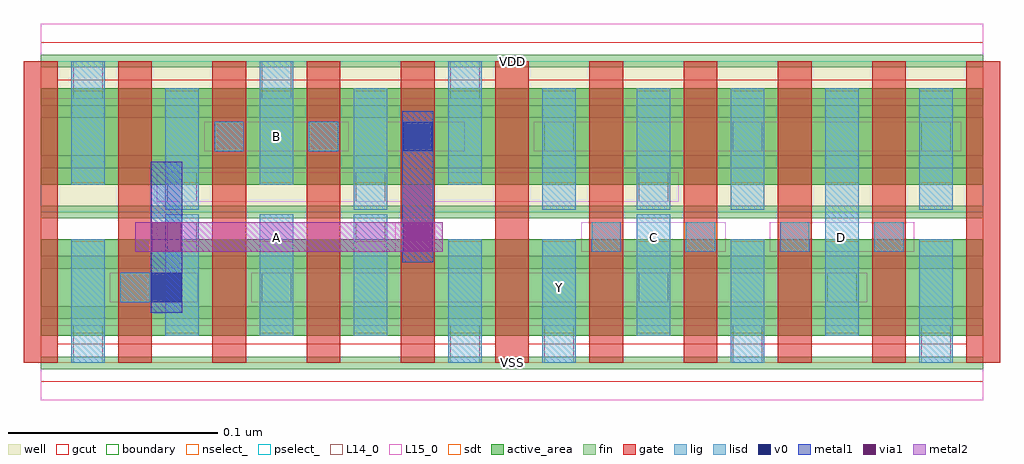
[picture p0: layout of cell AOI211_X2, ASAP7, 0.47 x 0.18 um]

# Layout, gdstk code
import gdstk
lib = gdstk.Library(unit=1e-6, precision=2.5e-10)
def R(c, l, rs):  # rectangles x0, y0, x1, y1
    for r in rs: c.add(gdstk.rectangle(r[:2], r[2:], *l))
def A(c, l, x, y, w, h, nx, ny, dx, dy):  # array of equal rectangles
    R(c, l, [(x+i*dx, y+j*dy, x+i*dx+w, y+j*dy+h) for i in range(nx) for j in range(ny)])
def P(c, l, *ps):  # polygons
    for p in ps: c.add(gdstk.Polygon(p, *l))
well = (1, 0)
fin = (2, 0)
gate = (7, 0)
gcut = (10, 0)
active_area = (11, 0)
nselect_ = (12, 0)
pselect_ = (13, 0)
L14_0 = (14, 0)
L15_0 = (15, 0)
lig = (16, 0)
lisd = (17, 0)
v0 = (18, 0)
metal1 = (19, 0)
metal2 = (20, 0)
via1 = (21, 0)
sdt = (88, 0)
boundary = (100, 0)

aoi211_x2 = lib.new_cell('AOI211_X2')
R(aoi211_x2, well, [(0,0.072,0.45,0.144)])
A(aoi211_x2, fin, 0, -0.003, 0.45, 0.006, 1, 7, 0, 0.024)
A(aoi211_x2, gate, -0.008, 0, 0.016, 0.144, 11, 1, 0.045, 0)
P(aoi211_x2, gcut, [(0,-0.009),(0,0),(-0.008,0),(-0.008,0.135),(0.008,0.135),(0.008,0.009),(0.217,0.009),(0.217,0.135),(0.233,0.135),(0.233,0.009),(0.442,0.009),(0.442,0.135),(-0.008,0.135),(-0.008,0.144),(0,0.144),(0,0.153),(0.45,0.153),(0.45,0.144),(0.458,0.144),(0.458,0),(0.45,0),(0.45,-0.009)])
R(aoi211_x2, active_area, [(0,0.013,0.45,0.059), (0,0.085,0.45,0.131)])
R(aoi211_x2, nselect_, [(0,0,0.45,0.072)])
R(aoi211_x2, pselect_, [(0,0.072,0.45,0.144)])
A(aoi211_x2, L14_0, 0.2405, 0, 0.014, 0.018, 3, 1, 0.09, 0)
A(aoi211_x2, L14_0, 0.263, 0.053, 0.014, 0.014, 4, 1, 0.045, 0)
A(aoi211_x2, L14_0, 0.083, 0.101, 0.014, 0.014, 3, 1, 0.045, 0)
A(aoi211_x2, L14_0, 0.2405, 0.101, 0.014, 0.014, 3, 1, 0.09, 0)
A(aoi211_x2, L14_0, 0.0155, 0.126, 0.014, 0.018, 3, 1, 0.09, 0)
R(aoi211_x2, L14_0, [(0.0155,0,0.0295,0.018), (0.1955,0,0.2095,0.018), (0.038,0.029,0.052,0.043), (0.1055,0.029,0.1195,0.043), (0.2855,0.029,0.2995,0.043), (0.3755,0.029,0.3895,0.043), (0.0605,0.053,0.0745,0.067), (0.1505,0.053,0.1645,0.067), (0.0605,0.077,0.0745,0.091), (0.1505,0.077,0.1645,0.091), (0.2855,0.077,0.2995,0.091)])
R(aoi211_x2, L15_0, [(0,-0.018,0.45,0.018), (0.033,0.029,0.075,0.043), (0.1005,0.029,0.3945,0.043), (0.0555,0.053,0.1695,0.067), (0.258,0.053,0.327,0.067), (0.348,0.053,0.417,0.067), (0.0555,0.077,0.3045,0.091), (0.078,0.101,0.147,0.115), (0.165,0.101,0.2025,0.115), (0.2355,0.101,0.4395,0.115), (0,0.126,0.45,0.162)])
A(aoi211_x2, lig, 0.263, 0.053, 0.014, 0.014, 4, 1, 0.045, 0)
A(aoi211_x2, lig, 0.083, 0.101, 0.014, 0.014, 3, 1, 0.045, 0)
R(aoi211_x2, lig, [(0.038,0.029,0.052,0.043)])
A(aoi211_x2, lisd, 0.2395, 0, 0.016, 0.059, 3, 1, 0.09, 0)
A(aoi211_x2, lisd, 0.0595, 0.013, 0.016, 0.058, 3, 1, 0.045, 0)
A(aoi211_x2, lisd, 0.0595, 0.073, 0.016, 0.058, 3, 1, 0.09, 0)
A(aoi211_x2, lisd, 0.0145, 0.085, 0.016, 0.059, 3, 1, 0.09, 0)
R(aoi211_x2, lisd, [(0.0145,0,0.0305,0.059), (0.1945,0,0.2105,0.059), (0.2845,0.013,0.3005,0.071), (0.3745,0.013,0.3905,0.131), (0.2845,0.073,0.3005,0.131), (0.3295,0.073,0.3455,0.131), (0.4195,0.073,0.4355,0.131)])
R(aoi211_x2, v0, [(0.053,0.029,0.067,0.043), (0.173,0.101,0.187,0.115)])
R(aoi211_x2, metal1, [(0.0525,0.024,0.0675,0.096), (0.1725,0.048,0.1875,0.12)])
R(aoi211_x2, metal2, [(0.045,0.053,0.192,0.067)])
R(aoi211_x2, via1, [(0.053,0.053,0.067,0.067), (0.173,0.053,0.187,0.067)])
A(aoi211_x2, sdt, 0.0145, 0.014, 0.016, 0.044, 10, 2, 0.045, 0.072)
R(aoi211_x2, boundary, [(0,0,0.45,0.144)])
aoi211_x2.add(gdstk.Label('VSS', (0.225,0), layer=15, texttype=251))
aoi211_x2.add(gdstk.Label('VDD', (0.225,0.144), layer=15, texttype=251))
aoi211_x2.add(gdstk.Label('C', (0.2925,0.06), layer=15, texttype=251))
aoi211_x2.add(gdstk.Label('VSS', (0.225,0), layer=15, texttype=251))
aoi211_x2.add(gdstk.Label('VDD', (0.225,0.144), layer=15, texttype=251))
aoi211_x2.add(gdstk.Label('B', (0.1125,0.108), layer=15, texttype=251))
aoi211_x2.add(gdstk.Label('VSS', (0.225,0), layer=15, texttype=251))
aoi211_x2.add(gdstk.Label('VDD', (0.225,0.144), layer=15, texttype=251))
aoi211_x2.add(gdstk.Label('D', (0.3825,0.06), layer=15, texttype=251))
aoi211_x2.add(gdstk.Label('VSS', (0.225,0), layer=15, texttype=251))
aoi211_x2.add(gdstk.Label('VDD', (0.225,0.144), layer=15, texttype=251))
aoi211_x2.add(gdstk.Label('Y', (0.2475,0.036), layer=15, texttype=251))
aoi211_x2.add(gdstk.Label('VSS', (0.225,0), layer=15, texttype=251))
aoi211_x2.add(gdstk.Label('VDD', (0.225,0.144), layer=15, texttype=251))
aoi211_x2.add(gdstk.Label('A', (0.1125,0.06), layer=20, texttype=251))
aoi211_x2.add(gdstk.Label('VSS', (0.225,0), layer=3, texttype=251))
aoi211_x2.add(gdstk.Label('VSS', (0.225,0), layer=3, texttype=251))
aoi211_x2.add(gdstk.Label('VSS', (0.225,0), layer=3, texttype=251))
aoi211_x2.add(gdstk.Label('VSS', (0.225,0), layer=3, texttype=251))
aoi211_x2.add(gdstk.Label('VSS', (0.225,0), layer=3, texttype=251))
aoi211_x2.add(gdstk.Label('VDD', (0.225,0.144), layer=1, texttype=251))
aoi211_x2.add(gdstk.Label('VDD', (0.225,0.144), layer=1, texttype=251))
aoi211_x2.add(gdstk.Label('VDD', (0.225,0.144), layer=1, texttype=251))
aoi211_x2.add(gdstk.Label('VDD', (0.225,0.144), layer=1, texttype=251))
aoi211_x2.add(gdstk.Label('VDD', (0.225,0.144), layer=1, texttype=251))

lib.write_gds('AOI211_X2.gds')
